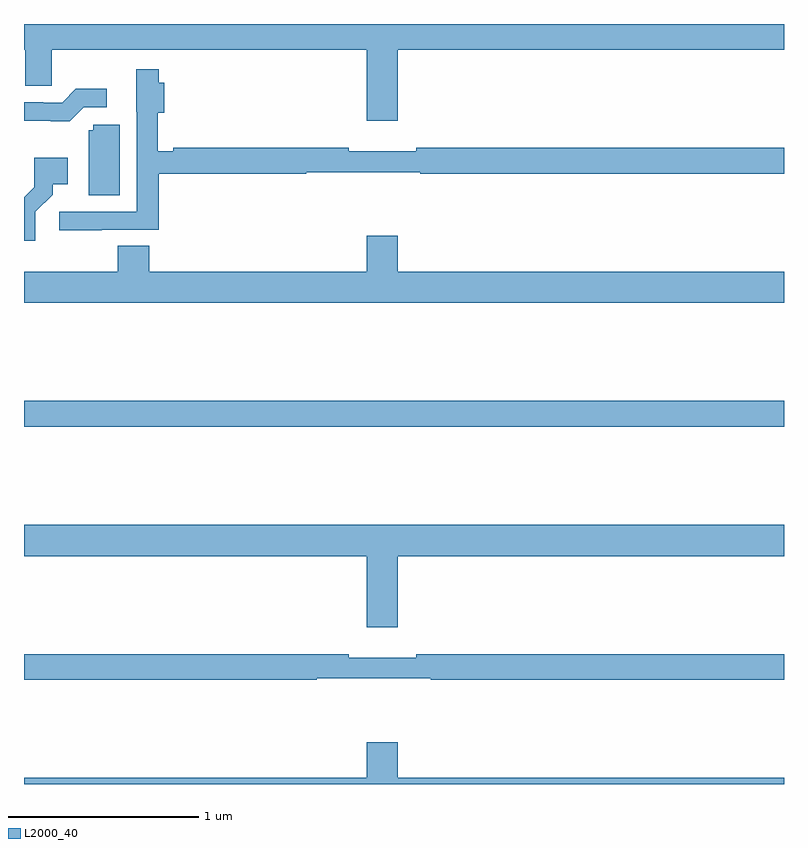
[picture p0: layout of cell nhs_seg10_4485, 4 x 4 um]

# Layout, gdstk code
import gdstk
lib = gdstk.Library(unit=1e-6, precision=1e-09)
def R(c, l, rs):  # rectangles x0, y0, x1, y1
    for r in rs: c.add(gdstk.rectangle(r[:2], r[2:], *l))
def P(c, l, *ps):  # polygons
    for p in ps: c.add(gdstk.Polygon(p, *l))
L2000_40 = (2000, 40)

nhs_seg10_4485 = lib.new_cell('nhs_seg10_4485')
R(nhs_seg10_4485, L2000_40, [(367,1250.38,371,1250.516)])
P(nhs_seg10_4485, L2000_40, [(368.968,1252.364),(371,1252.364),(371,1252.5),(367,1252.5),(367,1252.364),(367.007,1252.364),(367.007,1252.174),(367.146,1252.174),(367.146,1252.364),(368.804,1252.364),(368.804,1251.99),(368.968,1251.99)],
  [(367.409,1251.417),(367.709,1251.417),(367.709,1251.712),(368.486,1251.712),(368.486,1251.72),(369.086,1251.72),(369.086,1251.712),(371,1251.712),(371,1251.848),(369.064,1251.848),(369.064,1251.829),(368.708,1251.829),(368.708,1251.848),(367.786,1251.848),(367.786,1251.83),(367.705,1251.83),(367.705,1252.034),(367.739,1252.034),(367.739,1252.192),(367.709,1252.192),(367.709,1252.261),(367.592,1252.261),(367.592,1252.038),(367.593,1252.038),(367.593,1251.513),(367.185,1251.513),(367.185,1251.415),(367.409,1251.415)],
  [(367.314,1252.062),(367.435,1252.062),(367.435,1252.159),(367.273,1252.159),(367.2,1252.086),(367.1,1252.086),(367.1,1252.089),(367,1252.089),(367,1251.99),(367.142,1251.99),(367.142,1251.989),(367.241,1251.989)],
  [(367.504,1251.969),(367.365,1251.969),(367.365,1251.942),(367.34,1251.942),(367.34,1251.598),(367.504,1251.598)],
  [(367.06,1251.511),(367.15,1251.601),(367.15,1251.656),(367.231,1251.656),(367.231,1251.796),(367.053,1251.796),(367.053,1251.641),(367,1251.588),(367,1251.36),(367.06,1251.36)],
  [(371,1251.196),(368.968,1251.196),(368.968,1251.385),(368.804,1251.385),(368.804,1251.196),(367.658,1251.196),(367.658,1251.332),(367.493,1251.332),(367.493,1251.196),(367,1251.196),(367,1251.032),(371,1251.032)],
  [(368.968,1249.7),(371,1249.7),(371,1249.864),(367,1249.864),(367,1249.7),(368.804,1249.7),(368.804,1249.326),(368.968,1249.326)],
  [(368.542,1249.056),(369.142,1249.056),(369.142,1249.048),(371,1249.048),(371,1249.184),(369.064,1249.184),(369.064,1249.165),(368.708,1249.165),(368.708,1249.184),(367,1249.184),(367,1249.048),(368.542,1249.048)],
  [(371,1248.532),(368.968,1248.532),(368.968,1248.721),(368.804,1248.721),(368.804,1248.532),(367,1248.532),(367,1248.5),(371,1248.5)])

lib.write_gds('nhs_seg10_4485.gds')
